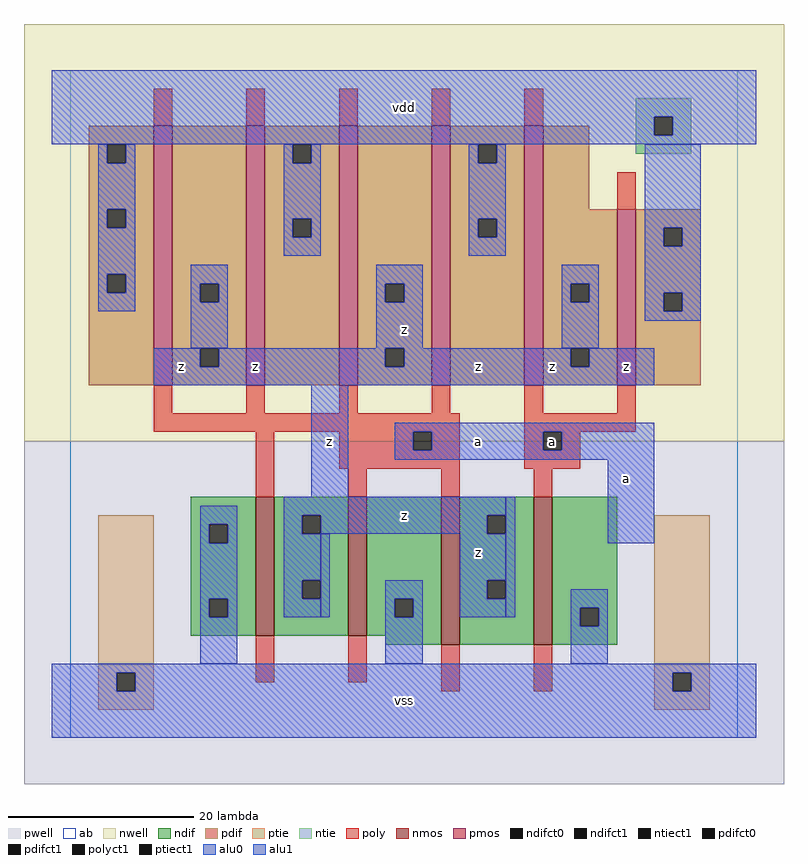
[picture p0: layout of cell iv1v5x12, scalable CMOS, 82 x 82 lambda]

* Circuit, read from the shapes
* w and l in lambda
.subckt iv1v5x12 a vdd vss z
M1 z a vss vss nfet w=15 l=2 m=2
M2 z a vss vss nfet w=16 l=2 m=2
M3 z a vdd vdd pfet w=28 l=2 m=5
M4 vdd a z vdd pfet w=19 l=2
.ends

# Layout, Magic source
magic
tech scmos
<< ab >>
rect 0 0 72 72
<< nwell >>
rect -5 32 77 77
<< pwell >>
rect -5 -5 77 32
<< poly >>
rect 9 66 11 70
rect 19 66 21 70
rect 29 66 31 70
rect 39 66 41 70
rect 49 66 51 70
rect 59 57 61 61
rect 9 35 11 38
rect 19 35 21 38
rect 29 35 31 38
rect 39 35 41 38
rect 49 35 51 38
rect 59 35 61 38
rect 9 33 42 35
rect 20 26 22 33
rect 29 31 37 33
rect 39 31 42 33
rect 29 29 42 31
rect 49 33 61 35
rect 49 31 51 33
rect 53 31 55 33
rect 49 29 55 31
rect 30 26 32 29
rect 40 26 42 29
rect 50 26 52 29
rect 20 6 22 11
rect 30 6 32 11
rect 40 5 42 10
rect 50 5 52 10
<< ndif >>
rect 13 23 20 26
rect 13 21 15 23
rect 17 21 20 23
rect 13 15 20 21
rect 13 13 15 15
rect 17 13 20 15
rect 13 11 20 13
rect 22 24 30 26
rect 22 22 25 24
rect 27 22 30 24
rect 22 17 30 22
rect 22 15 25 17
rect 27 15 30 17
rect 22 11 30 15
rect 32 15 40 26
rect 32 13 35 15
rect 37 13 40 15
rect 32 11 40 13
rect 34 10 40 11
rect 42 24 50 26
rect 42 22 45 24
rect 47 22 50 24
rect 42 17 50 22
rect 42 15 45 17
rect 47 15 50 17
rect 42 10 50 15
rect 52 14 59 26
rect 52 12 55 14
rect 57 12 59 14
rect 52 10 59 12
<< pdif >>
rect 2 64 9 66
rect 2 62 4 64
rect 6 62 9 64
rect 2 57 9 62
rect 2 55 4 57
rect 6 55 9 57
rect 2 50 9 55
rect 2 48 4 50
rect 6 48 9 50
rect 2 38 9 48
rect 11 49 19 66
rect 11 47 14 49
rect 16 47 19 49
rect 11 42 19 47
rect 11 40 14 42
rect 16 40 19 42
rect 11 38 19 40
rect 21 64 29 66
rect 21 62 24 64
rect 26 62 29 64
rect 21 56 29 62
rect 21 54 24 56
rect 26 54 29 56
rect 21 38 29 54
rect 31 49 39 66
rect 31 47 34 49
rect 36 47 39 49
rect 31 42 39 47
rect 31 40 34 42
rect 36 40 39 42
rect 31 38 39 40
rect 41 64 49 66
rect 41 62 44 64
rect 46 62 49 64
rect 41 56 49 62
rect 41 54 44 56
rect 46 54 49 56
rect 41 38 49 54
rect 51 57 56 66
rect 51 49 59 57
rect 51 47 54 49
rect 56 47 59 49
rect 51 42 59 47
rect 51 40 54 42
rect 56 40 59 42
rect 51 38 59 40
rect 61 55 68 57
rect 61 53 64 55
rect 66 53 68 55
rect 61 48 68 53
rect 61 46 64 48
rect 66 46 68 48
rect 61 38 68 46
<< alu1 >>
rect -2 67 74 72
rect -2 65 63 67
rect 65 65 74 67
rect -2 64 74 65
rect 33 49 38 51
rect 33 47 34 49
rect 36 47 38 49
rect 33 42 38 47
rect 9 40 14 42
rect 16 40 34 42
rect 36 40 54 42
rect 56 40 63 42
rect 9 38 63 40
rect 26 26 30 38
rect 35 33 63 34
rect 35 31 37 33
rect 39 31 51 33
rect 53 31 63 33
rect 35 30 63 31
rect 23 24 47 26
rect 23 22 25 24
rect 27 22 45 24
rect 23 17 27 22
rect 23 15 25 17
rect 23 13 27 15
rect 42 17 47 22
rect 42 15 45 17
rect 42 13 47 15
rect 58 21 63 30
rect -2 7 74 8
rect -2 5 5 7
rect 7 5 65 7
rect 67 5 74 7
rect -2 0 74 5
<< ptie >>
rect 3 7 9 24
rect 3 5 5 7
rect 7 5 9 7
rect 63 7 69 24
rect 63 5 65 7
rect 67 5 69 7
rect 3 3 9 5
rect 63 3 69 5
<< ntie >>
rect 61 67 67 69
rect 61 65 63 67
rect 65 65 67 67
rect 61 63 67 65
<< nmos >>
rect 20 11 22 26
rect 30 11 32 26
rect 40 10 42 26
rect 50 10 52 26
<< pmos >>
rect 9 38 11 66
rect 19 38 21 66
rect 29 38 31 66
rect 39 38 41 66
rect 49 38 51 66
rect 59 38 61 57
<< polyct1 >>
rect 37 31 39 33
rect 51 31 53 33
<< ndifct0 >>
rect 15 21 17 23
rect 15 13 17 15
rect 35 13 37 15
rect 55 12 57 14
<< ndifct1 >>
rect 25 22 27 24
rect 25 15 27 17
rect 45 22 47 24
rect 45 15 47 17
<< ntiect1 >>
rect 63 65 65 67
<< ptiect1 >>
rect 5 5 7 7
rect 65 5 67 7
<< pdifct0 >>
rect 4 62 6 64
rect 4 55 6 57
rect 4 48 6 50
rect 14 47 16 49
rect 24 62 26 64
rect 24 54 26 56
rect 44 62 46 64
rect 44 54 46 56
rect 54 47 56 49
rect 64 53 66 55
rect 64 46 66 48
<< pdifct1 >>
rect 14 40 16 42
rect 34 47 36 49
rect 34 40 36 42
rect 54 40 56 42
<< alu0 >>
rect 3 62 4 64
rect 6 62 7 64
rect 3 57 7 62
rect 3 55 4 57
rect 6 55 7 57
rect 3 50 7 55
rect 23 62 24 64
rect 26 62 27 64
rect 23 56 27 62
rect 23 54 24 56
rect 26 54 27 56
rect 23 52 27 54
rect 43 62 44 64
rect 46 62 47 64
rect 43 56 47 62
rect 43 54 44 56
rect 46 54 47 56
rect 43 52 47 54
rect 62 55 68 64
rect 62 53 64 55
rect 66 53 68 55
rect 3 48 4 50
rect 6 48 7 50
rect 3 46 7 48
rect 13 49 17 51
rect 13 47 14 49
rect 16 47 17 49
rect 13 42 17 47
rect 53 49 57 51
rect 53 47 54 49
rect 56 47 57 49
rect 53 42 57 47
rect 62 48 68 53
rect 62 46 64 48
rect 66 46 68 48
rect 62 45 68 46
rect 14 23 18 25
rect 14 21 15 23
rect 17 21 18 23
rect 14 15 18 21
rect 14 13 15 15
rect 17 13 18 15
rect 27 13 28 22
rect 34 15 38 17
rect 34 13 35 15
rect 37 13 38 15
rect 47 13 48 26
rect 54 14 58 16
rect 14 8 18 13
rect 34 8 38 13
rect 54 12 55 14
rect 57 12 58 14
rect 54 8 58 12
<< labels >>
rlabel alu1 12 40 12 40 6 z
rlabel alu1 28 32 28 32 6 z
rlabel alu1 20 40 20 40 6 z
rlabel alu1 36 4 36 4 6 vss
rlabel alu1 44 20 44 20 6 z
rlabel alu1 36 24 36 24 6 z
rlabel alu1 44 32 44 32 6 a
rlabel polyct1 52 32 52 32 6 a
rlabel alu1 44 40 44 40 6 z
rlabel alu1 52 40 52 40 6 z
rlabel alu1 36 44 36 44 6 z
rlabel alu1 36 68 36 68 6 vdd
rlabel alu1 60 28 60 28 6 a
rlabel alu1 60 40 60 40 6 z
<< end >>
